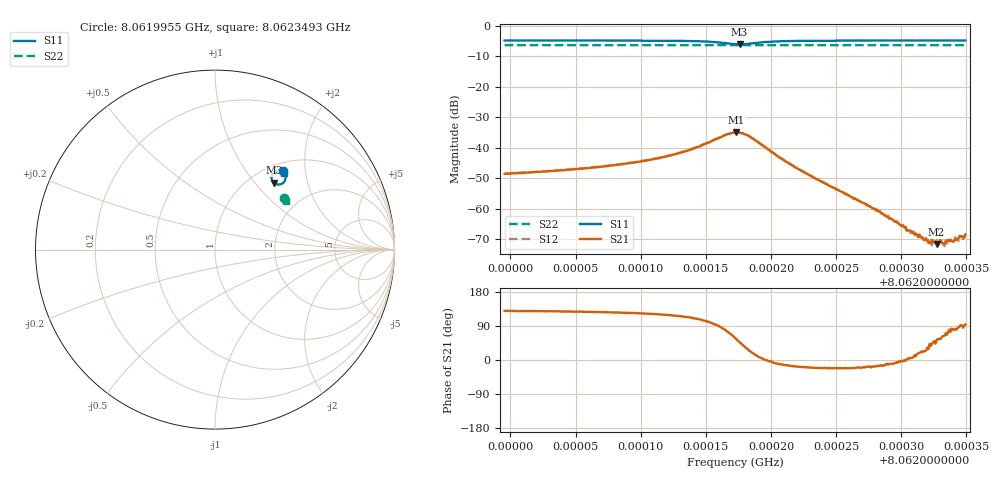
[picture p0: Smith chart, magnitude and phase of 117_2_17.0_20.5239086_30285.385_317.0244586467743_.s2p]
#  HZ  S  RI  R  50.00
! Rohde & Schwarz Vector Network Analyzer
! Rohde-Schwarz,ZNB20-2Port,1311601062101988,3.16
! Created: UTC 3/20/2024, 10:57:17 PM
! freq[Hz]  re:S11  im:S11  re:S21  im:S21  re:S12  im:S12  re:S22  im:S22
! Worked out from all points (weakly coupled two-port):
!   401 points, 8.0619955 GHz to 8.0623493 GHz, reference 50 ohm
!   highest |S21| = -34.96 dB at 8.0621733 GHz (marker M1); lowest = -71.7 dB at 8.0623272 GHz (marker M2)
!   lowest |S11| = -6.1 dB at 8.062176 GHz (marker M3), VSWR 2.97, Z = 63.8 + j63.1 ohm
!   |S11| at or under -10 dB: nowhere
!   |S22| runs from -6.4 to -6.3 dB; largest |S21 - S12| = 0.0012
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8.06199551e9  0.3762 0.4356  -0.00236 0.00287  -0.00226 0.00304  0.3865 0.2898
8.06205478e9  0.3819 0.4296  -0.00277 0.00362  -0.00253 0.00378  0.3885 0.2868
8.06208396e9  0.3853 0.4253  -0.00305 0.00433  -0.00279 0.00452  0.3895 0.2851
8.06211404e9  0.3898 0.4174  -0.00343 0.00583  -0.00315 0.00607  0.3907 0.2833
8.06213704e9  0.3929 0.4047  -0.00348 0.00843  -0.00303 0.00873  0.3912 0.2817
8.06215826e9  0.3844 0.3768  -0.000522 0.014  0.000298 0.0141  0.3911 0.2797
8.06217242e9  0.3413 0.3644  0.00933 0.0152  0.0103 0.0146  0.3895 0.2792
8.0621733e9  0.338 0.3658  0.00999 0.0148  0.011 0.0142  0.3895 0.2792
8.06217596e9  0.3279 0.3724  0.012 0.0128  0.0129 0.0123  0.3892 0.2796
8.06218392e9  0.3153 0.4023  0.0139 0.00602  0.0144 0.00514  0.3894 0.2807
8.06220603e9  0.3431 0.4385  0.00697 -0.00123  0.00688 -0.00167  0.3918 0.2809
8.06223168e9  0.3618 0.4394  0.00313 -0.00116  0.0031 -0.00139  0.3934 0.2793
8.06227414e9  0.3738 0.4353  0.00108 -0.000343  0.00103 -0.000422  0.3952 0.277
8.06229094e9  0.3767 0.4338  0.000672 -0.000125  0.000679 -0.000184  0.3958 0.2761
8.06230686e9  0.3789 0.4324  0.000436 4.15e-05  0.000404 2.04e-05  0.3965 0.2753
8.06231306e9  0.3797 0.4319  0.000324 0.000102  0.000351 4.66e-05  0.3966 0.275
8.0623219e9  0.3808 0.4312  0.000208 0.000194  0.000213 0.000146  0.3969 0.2746
8.06232721e9  0.3813 0.4308  0.000159 0.000204  0.00022 0.000214  0.3971 0.2743
8.0623334e9  0.3819 0.4304  0.000112 0.000235  0.000119 0.000211  0.3973 0.274
8.06233605e9  0.3822 0.4302  8.74e-05 0.000293  0.000112 0.000277  0.3974 0.2738
8.06233959e9  0.3824 0.4298  4.71e-05 0.000285  0.000108 0.000301  0.3975 0.2736
8.06234932e9  0.3833 0.4291  -2.47e-05 0.000377  2.41e-05 0.000369  0.3976 0.2732
